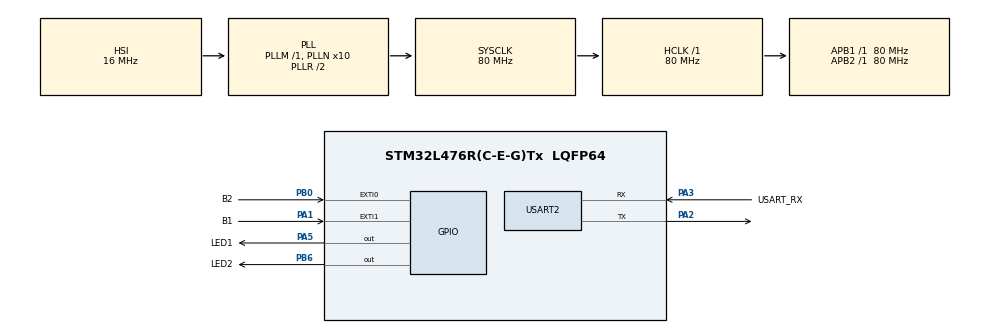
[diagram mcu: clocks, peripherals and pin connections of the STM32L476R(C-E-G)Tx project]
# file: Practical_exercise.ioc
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Mcu.Family=STM32L4
Mcu.Name=STM32L476R(C-E-G)Tx
Mcu.Package=LQFP64
NVIC.EXTI0_IRQn=true\:0\:0\:false\:false\:true\:true\:true\:true
NVIC.EXTI1_IRQn=true\:0\:0\:false\:false\:true\:true\:true\:true
NVIC.PriorityGroup=NVIC_PRIORITYGROUP_4
PA1.GPIO_Label=B1
PA1.Signal=GPXTI1
PA13\ (JTMS-SWDIO).GPIO_Label=TMS
PA13\ (JTMS-SWDIO).Mode=Serial_Wire
PA13\ (JTMS-SWDIO).Signal=SYS_JTMS-SWDIO
PA14\ (JTCK-SWCLK).GPIO_Label=TCK
PA14\ (JTCK-SWCLK).Mode=Serial_Wire
PA14\ (JTCK-SWCLK).Signal=SYS_JTCK-SWCLK
PA2.Mode=Asynchronous
PA2.Signal=USART2_TX
PA3.GPIO_Label=USART_RX
PA3.GPIO_Mode=GPIO_MODE_AF_PP
PA3.GPIO_PuPd=GPIO_NOPULL
PA3.GPIO_Speed=GPIO_SPEED_FREQ_VERY_HIGH
PA3.Mode=Asynchronous
PA3.Signal=USART2_RX
PA5.GPIO_Label=LED1
PA5.PinState=GPIO_PIN_SET
PA5.Signal=GPIO_Output
PB0.GPIO_Label=B2
PB0.Signal=GPXTI0
PB3\ (JTDO-TRACESWO).GPIO_Label=SWO
PB3\ (JTDO-TRACESWO).Signal=SYS_JTDO-SWO
PB6.GPIO_Label=LED2
PB6.PinState=GPIO_PIN_SET
PB6.Signal=GPIO_Output
PC14-OSC32_IN\ (PC14).Mode=LSE-External-Oscillator
PC14-OSC32_IN\ (PC14).Signal=RCC_OSC32_IN
PC15-OSC32_OUT\ (PC15).Mode=LSE-External-Oscillator
PC15-OSC32_OUT\ (PC15).Signal=RCC_OSC32_OUT
PH0-OSC_IN\ (PH0).Signal=RCC_OSC_IN
PH1-OSC_OUT\ (PH1).Signal=RCC_OSC_OUT
ProjectManager.HeapSize=0x200
ProjectManager.StackSize=0x400
ProjectManager.TargetToolchain=STM32CubeIDE
RCC.ADCFreq_Value=64000000
RCC.AHBFreq_Value=80000000
RCC.APB1Freq_Value=80000000
RCC.APB1TimFreq_Value=80000000
RCC.APB2Freq_Value=80000000
RCC.APB2TimFreq_Value=80000000
RCC.CortexFreq_Value=80000000
RCC.HCLKFreq_Value=80000000
RCC.HSE_VALUE=8000000
RCC.HSI_VALUE=16000000
RCC.MSI_VALUE=4000000
RCC.PLLN=10
RCC.PLLSourceVirtual=RCC_PLLSOURCE_HSI
RCC.PREFETCH_ENABLE=1
RCC.SYSCLKFreq_VALUE=80000000
RCC.SYSCLKSource=RCC_SYSCLKSOURCE_PLLCLK
RCC.USBFreq_Value=64000000
RCC.VCOOutputFreq_Value=160000000
USART2.VirtualMode-Asynchronous=VM_ASYNC
board=NUCLEO-L476RG

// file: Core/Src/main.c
/* USER CODE BEGIN Header */
/**
  ******************************************************************************
  * @file           : main.c
  * @brief          : Main program body
  ******************************************************************************
  * @attention
  *
  * Copyright (c) 2024 STMicroelectronics.
  * All rights reserved.
  *
  * This software is licensed under terms that can be found in the LICENSE file
  * in the root directory of this software component.
  * If no LICENSE file comes with this software, it is provided AS-IS.
  *
  ******************************************************************************
  */
/* USER CODE END Header */
#include "main.h"

UART_HandleTypeDef huart2;

/* USER CODE BEGIN PV */
//uint32_t toggles = 0;
uint32_t izq = 0;
uint32_t der = 0;
uint32_t toggles1 = 0;
uint32_t toggles2 = 0;
/* USER CODE END PV */

void SystemClock_Config(void);
static void MX_GPIO_Init(void);
static void MX_USART2_UART_Init(void);

/* USER CODE BEGIN 0 */
void HAL_GPIO_EXTI_Callback(uint16_t GPIO_Pin){
	UNUSED(GPIO_Pin);
	if(GPIO_Pin==B1_Pin){
		HAL_UART_Transmit(&huart2,"Left Signal\r\n",13,10);
		izq=1;
		toggles1 = 6;
	}
	if(GPIO_Pin==B2_Pin){
		HAL_UART_Transmit(&huart2,"Right Signal\r\n",14,10);
		der=1;
		toggles2 = 6;
	}
}

void turn_signal_left(void){
	static uint32_t toggle_tick=0;
	if(toggle_tick<HAL_GetTick() && toggles1>0){
		toggle_tick=HAL_GetTick()+500;
		HAL_GPIO_TogglePin(LED1_GPIO_Port,LED1_Pin);
		toggles1--;
	}
	if(toggles1==0){
		izq=1;
	}
}

void turn_signal_right(void){
	static uint32_t toggle_tick=0;
	if(toggle_tick<HAL_GetTick() && toggles2>0){
		toggle_tick=HAL_GetTick()+500;
		HAL_GPIO_TogglePin(LED2_GPIO_Port,LED2_Pin);
		toggles2--;
	}
	if(toggles2==0){
		der=1;
	}
}
/* USER CODE END 0 */

int main(void)
{

  /* MCU Configuration--------------------------------------------------------*/

  /* Reset of all peripherals, Initializes the Flash interface and the Systick. */
  HAL_Init();

  /* Configure the system clock */
  SystemClock_Config();

  /* Initialize all configured peripherals */
  MX_GPIO_Init();
  MX_USART2_UART_Init();

  /* Infinite loop */
  /* USER CODE BEGIN WHILE */
  while (1)
  {
	  if(izq==1){
		  turn_signal_left();
	  }
	  if(der==1){
		  turn_signal_right();
	  }
    /* USER CODE END WHILE */

  }
}

void SystemClock_Config(void)
{
  RCC_OscInitTypeDef RCC_OscInitStruct = {0};
  RCC_ClkInitTypeDef RCC_ClkInitStruct = {0};

  /** Configure the main internal regulator output voltage
  */
  if (HAL_PWREx_ControlVoltageScaling(PWR_REGULATOR_VOLTAGE_SCALE1) != HAL_OK)
  {
    Error_Handler();
  }

  /** Initializes the RCC Oscillators according to the specified parameters
  * in the RCC_OscInitTypeDef structure.
  */
  RCC_OscInitStruct.OscillatorType = RCC_OSCILLATORTYPE_HSI;
  RCC_OscInitStruct.HSIState = RCC_HSI_ON;
  RCC_OscInitStruct.HSICalibrationValue = RCC_HSICALIBRATION_DEFAULT;
  RCC_OscInitStruct.PLL.PLLState = RCC_PLL_ON;
  RCC_OscInitStruct.PLL.PLLSource = RCC_PLLSOURCE_HSI;
  RCC_OscInitStruct.PLL.PLLM = 1;
  RCC_OscInitStruct.PLL.PLLN = 10;
  RCC_OscInitStruct.PLL.PLLP = RCC_PLLP_DIV7;
  RCC_OscInitStruct.PLL.PLLQ = RCC_PLLQ_DIV2;
  RCC_OscInitStruct.PLL.PLLR = RCC_PLLR_DIV2;
  if (HAL_RCC_OscConfig(&RCC_OscInitStruct) != HAL_OK)
  {
    Error_Handler();
  }

  /** Initializes the CPU, AHB and APB buses clocks
  */
  RCC_ClkInitStruct.ClockType = RCC_CLOCKTYPE_HCLK|RCC_CLOCKTYPE_SYSCLK
                              |RCC_CLOCKTYPE_PCLK1|RCC_CLOCKTYPE_PCLK2;
  RCC_ClkInitStruct.SYSCLKSource = RCC_SYSCLKSOURCE_PLLCLK;
  RCC_ClkInitStruct.AHBCLKDivider = RCC_SYSCLK_DIV1;
  RCC_ClkInitStruct.APB1CLKDivider = RCC_HCLK_DIV1;
  RCC_ClkInitStruct.APB2CLKDivider = RCC_HCLK_DIV1;

  if (HAL_RCC_ClockConfig(&RCC_ClkInitStruct, FLASH_LATENCY_4) != HAL_OK)
  {
    Error_Handler();
  }
}

static void MX_USART2_UART_Init(void)
{

  huart2.Instance = USART2;
  huart2.Init.BaudRate = 115200;
  huart2.Init.WordLength = UART_WORDLENGTH_8B;
  huart2.Init.StopBits = UART_STOPBITS_1;
  huart2.Init.Parity = UART_PARITY_NONE;
  huart2.Init.Mode = UART_MODE_TX_RX;
  huart2.Init.HwFlowCtl = UART_HWCONTROL_NONE;
  huart2.Init.OverSampling = UART_OVERSAMPLING_16;
  huart2.Init.OneBitSampling = UART_ONE_BIT_SAMPLE_DISABLE;
  huart2.AdvancedInit.AdvFeatureInit = UART_ADVFEATURE_NO_INIT;
  if (HAL_UART_Init(&huart2) != HAL_OK)
  {
    Error_Handler();
  }

}

static void MX_GPIO_Init(void)
{
  GPIO_InitTypeDef GPIO_InitStruct = {0};

  /* GPIO Ports Clock Enable */
  __HAL_RCC_GPIOC_CLK_ENABLE();
  __HAL_RCC_GPIOH_CLK_ENABLE();
  __HAL_RCC_GPIOA_CLK_ENABLE();
  __HAL_RCC_GPIOB_CLK_ENABLE();

  /*Configure GPIO pin Output Level */
  HAL_GPIO_WritePin(LED1_GPIO_Port, LED1_Pin, GPIO_PIN_SET);

  /*Configure GPIO pin Output Level */
  HAL_GPIO_WritePin(LED2_GPIO_Port, LED2_Pin, GPIO_PIN_SET);

  /*Configure GPIO pin : B1_Pin */
  GPIO_InitStruct.Pin = B1_Pin;
  GPIO_InitStruct.Mode = GPIO_MODE_IT_RISING;
  GPIO_InitStruct.Pull = GPIO_NOPULL;
  HAL_GPIO_Init(B1_GPIO_Port, &GPIO_InitStruct);

  /*Configure GPIO pin : LED1_Pin */
  GPIO_InitStruct.Pin = LED1_Pin;
  GPIO_InitStruct.Mode = GPIO_MODE_OUTPUT_PP;
  GPIO_InitStruct.Pull = GPIO_NOPULL;
  GPIO_InitStruct.Speed = GPIO_SPEED_FREQ_LOW;
  HAL_GPIO_Init(LED1_GPIO_Port, &GPIO_InitStruct);

  /*Configure GPIO pin : B2_Pin */
  GPIO_InitStruct.Pin = B2_Pin;
  GPIO_InitStruct.Mode = GPIO_MODE_IT_RISING;
  GPIO_InitStruct.Pull = GPIO_NOPULL;
  HAL_GPIO_Init(B2_GPIO_Port, &GPIO_InitStruct);

  /*Configure GPIO pin : LED2_Pin */
  GPIO_InitStruct.Pin = LED2_Pin;
  GPIO_InitStruct.Mode = GPIO_MODE_OUTPUT_PP;
  GPIO_InitStruct.Pull = GPIO_NOPULL;
  GPIO_InitStruct.Speed = GPIO_SPEED_FREQ_LOW;
  HAL_GPIO_Init(LED2_GPIO_Port, &GPIO_InitStruct);

  /* EXTI interrupt init*/
  HAL_NVIC_SetPriority(EXTI0_IRQn, 0, 0);
  HAL_NVIC_EnableIRQ(EXTI0_IRQn);

  HAL_NVIC_SetPriority(EXTI1_IRQn, 0, 0);
  HAL_NVIC_EnableIRQ(EXTI1_IRQn);

}

void Error_Handler(void)
{
  __disable_irq();
  while (1)
  {
  }
}
